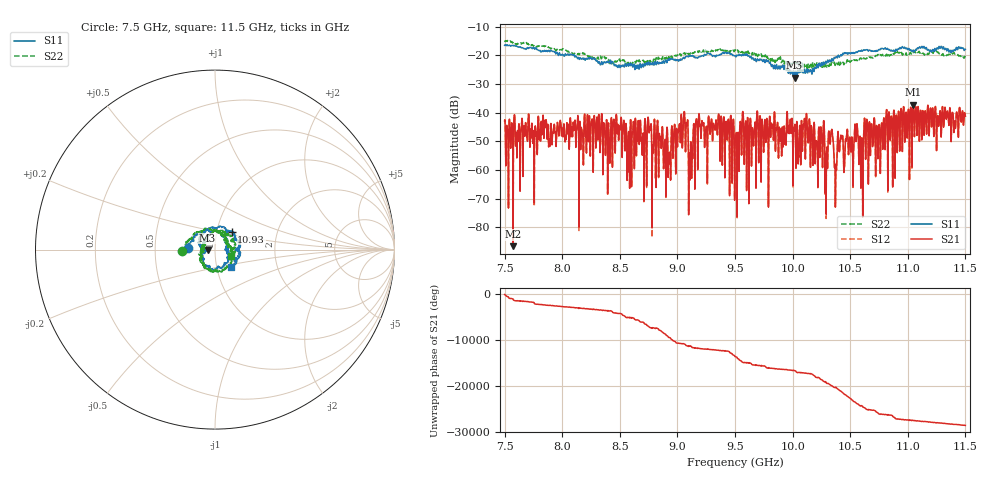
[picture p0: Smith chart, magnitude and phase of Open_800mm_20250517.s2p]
#  HZ  S  DB  R  50.00
! Rohde & Schwarz ZVA40 2Ports - Version 4.11 - 1145.1110k40 SN: 100216
! Date: 2025-05-17 20:26:52
! Measurements: S11 S21 S12 S22
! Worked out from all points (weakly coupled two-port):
!   5001 points, 7.5 GHz to 11.5 GHz, reference 50 ohm
!   highest |S21| = -37.15 dB at 11.05 GHz (marker M1); lowest = -86.5 dB at 7.574 GHz (marker M2)
!   lowest |S11| = -27.7 dB at 10.02 GHz (marker M3), VSWR 1.09, Z = 46 - j0.225 ohm
!   |S11| at or under -10 dB: start of sweep to end of sweep
!   |S22| runs from -25.1 to -14.8 dB; largest |S21 - S12| = 0.00015
!   S11 on the Smith chart (normalised r, x): 7.5 GHz: 0.74, +0.02; 10.93 GHz: 1.18, +0.24; 11.5 GHz: 1.16, -0.23
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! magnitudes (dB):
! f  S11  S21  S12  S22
! 7.5 GHz  -16.5  -42.9  -42.9  -14.8
! 7.574 GHz  -16.5  -86.5  -82.1  -15.6
! 8.167 GHz  -21.2  -45.3  -45.3  -19.3
! 8.834 GHz  -22.9  -49.1  -49.1  -20.7
! 9.071 GHz  -20.6  -52.5  -52.5  -19.4
! 9.114 GHz  -20.1  -50.8  -50.8  -19.1
! 9.175 GHz  -20.9  -54.7  -54.8  -18.6
! 9.346 GHz  -20.0  -47.1  -47.2  -18.3
! 9.5 GHz  -20.1  -53.2  -53.4  -18.0
! 10.02 GHz  -27.7  -45.3  -45.3  -22.8
! 10.17 GHz  -26.6  -46.0  -46.1  -23.9
! 10.3 GHz  -22.7  -52.1  -52.1  -23.8
! 10.33 GHz  -22.1  -48.2  -48.2  -23.4
! 10.37 GHz  -20.9  -62.4  -62.2  -23.5
! 10.41 GHz  -20.3  -52.3  -52.1  -23.3
! 10.55 GHz  -18.8  -49.3  -49.1  -21.6
! 10.59 GHz  -18.5  -66.3  -66.3  -21.0
! 10.63 GHz  -18.1  -56.2  -56.0  -21.2
! 10.83 GHz  -18.0  -41.0  -40.9  -19.8
! 10.93 GHz  -17.3  -43.5  -43.6  -19.2
! 11.05 GHz  -18.2  -37.1  -37.1  -18.9
! 11.5 GHz  -17.8  -41.2  -41.2  -20.5
